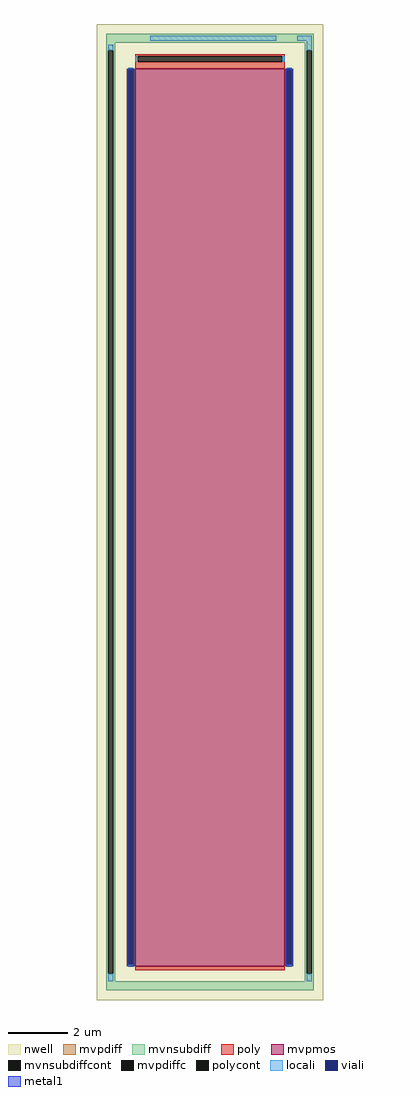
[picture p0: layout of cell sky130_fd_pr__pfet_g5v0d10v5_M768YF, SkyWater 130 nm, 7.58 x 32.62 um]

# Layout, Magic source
magic
tech sky130A
magscale 1 2
<< nwell >>
rect -758 -3262 758 3262
<< mvpmos >>
rect -500 -3036 500 2964
<< mvpdiff >>
rect -558 2952 -500 2964
rect -558 -3024 -546 2952
rect -512 -3024 -500 2952
rect -558 -3036 -500 -3024
rect 500 2952 558 2964
rect 500 -3024 512 2952
rect 546 -3024 558 2952
rect 500 -3036 558 -3024
<< mvpdiffc >>
rect -546 -3024 -512 2952
rect 512 -3024 546 2952
<< mvnsubdiff >>
rect -692 3138 692 3196
rect -692 3088 -634 3138
rect -692 -3088 -680 3088
rect -646 -3088 -634 3088
rect 634 3088 692 3138
rect -692 -3138 -634 -3088
rect 634 -3088 646 3088
rect 680 -3088 692 3088
rect 634 -3138 692 -3088
rect -692 -3196 692 -3138
<< mvnsubdiffcont >>
rect -680 -3088 -646 3088
rect 646 -3088 680 3088
<< poly >>
rect -500 3045 500 3061
rect -500 3011 -484 3045
rect 484 3011 500 3045
rect -500 2964 500 3011
rect -500 -3062 500 -3036
<< polycont >>
rect -484 3011 484 3045
<< locali >>
rect -398 3150 442 3184
rect 582 3150 680 3184
rect -680 3088 -646 3122
rect 646 3088 680 3150
rect -500 3011 -484 3045
rect 484 3011 500 3045
rect -546 2952 -512 2968
rect -546 -3040 -512 -3024
rect 512 2952 546 2968
rect 512 -3040 546 -3024
rect -680 -3138 -646 -3088
rect 646 -3138 680 -3088
<< viali >>
rect -546 -3024 -512 2952
rect 512 -3024 546 2952
<< metal1 >>
rect -552 2952 -506 2964
rect -552 -3024 -546 2952
rect -512 -3024 -506 2952
rect -552 -3036 -506 -3024
rect 506 2952 552 2964
rect 506 -3024 512 2952
rect 546 -3024 552 2952
rect 506 -3036 552 -3024
<< properties >>
string FIXED_BBOX -663 -3167 663 3167
string gencell sky130_fd_pr__pfet_g5v0d10v5
string library sky130
string parameters w 30 l 5 m 1 nf 1 diffcov 100 polycov 100 guard 1 glc 1 grc 1 gtc 0 gbc 0 tbcov 100 rlcov 100 topc 1 botc 0 poverlap 0 doverlap 1 lmin 0.50 wmin 0.42 compatible {sky130_fd_pr__pfet_01v8  sky130_fd_pr__pfet_01v8_lvt sky130_fd_pr__pfet_01v8_hvt  sky130_fd_pr__pfet_g5v0d10v5} full_metal 1 viasrc 100 viadrn 100 viagate 100 viagb 0 viagr 0 viagl 0 viagt 0
<< end >>
